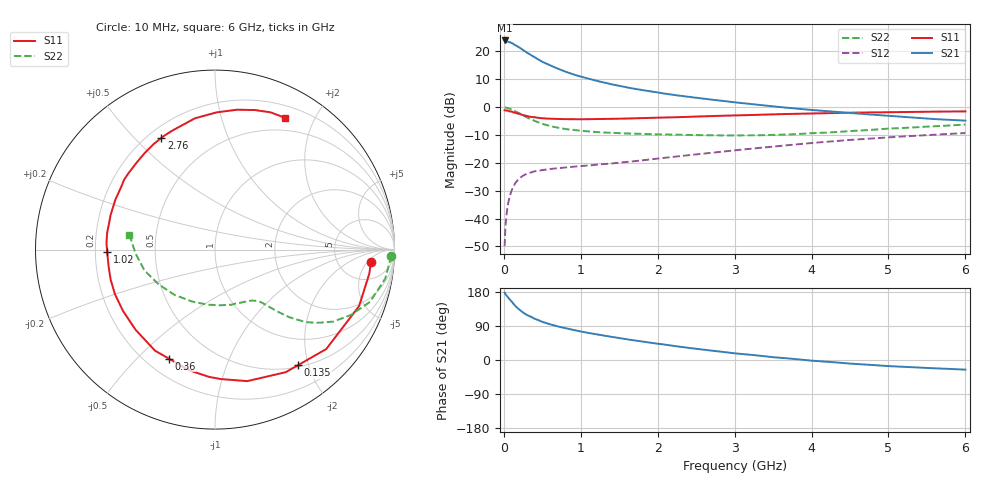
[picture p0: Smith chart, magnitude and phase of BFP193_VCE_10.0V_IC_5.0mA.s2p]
! Infineon Technologies  Discrete & RF Semiconductors
! BFP193
! VCE = 10.0V,  IC =  5.0 mA
! Common Emitter S-Parameters:  Jan 2016
# GHz  S  MA  R  50
!  f  S11  S21  S12  S22
! GHz  MAG  ANG  MAG  ANG  MAG  ANG  MAG  ANG
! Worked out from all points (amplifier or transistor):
!   210 points, 10 MHz to 6 GHz, reference 50 ohm
!   highest |S21| = 23.8 dB at 10 MHz (marker M1)
!   |S21| within 3 dB of that: start of sweep to 227.6 MHz
!   unconditionally stable (mu >= 1): 1.323 GHz to 3.677 GHz
!   at 185 MHz: K = 0.21, MSG = 23.8 dB, |S12| = -26.1 dB
!   at 1.52 GHz: K = 1.06, MAG = 12.1 dB, |S12| = -19.9 dB
!   at 6 GHz: K = 0.88, MSG = 2.2 dB, |S12| = -9.4 dB
!   S11 on the Smith chart (normalised r, x): 10 MHz: 11, -6; 135 MHz: 0.53, -1.83; 360 MHz: 0.29, -0.62; 1.02 GHz: 0.25, -0.01; 2.76 GHz: 0.25, +0.60; 6 GHz: 0.34, +1.61
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0.01  0.8711 -4.6  15.54 178.0  0.0032 86.3  0.9825 -2.0
0.02  0.8702 -8.8  15.08 174.0  0.0069 84.2  0.9766 -3.8
0.055  0.8545 -23.3  14.75 165.1  0.0184 76.1  0.9561 -10.5
0.1  0.8314 -41.8  14.13 154.0  0.0317 68.5  0.9116 -18.6
0.135  0.7928 -54.4  13.13 146.0  0.0399 61.9  0.8603 -23.4
0.15  0.7886 -60.0  12.78 142.2  0.0436 59.9  0.8403 -25.7
0.2  0.7546 -76.2  11.69 133.2  0.0522 53.0  0.7722 -31.3
0.24  0.7219 -87.5  10.71 126.7  0.0574 48.7  0.7165 -34.6
0.3  0.6881 -101.9  9.399 118.7  0.0635 44.2  0.6477 -38.6
0.36  0.6594 -113.0  8.362 113.3  0.0675 40.7  0.5947 -40.7
0.4  0.6548 -120.7  7.722 108.9  0.0703 38.6  0.5598 -42.3
0.5  0.6287 -134.7  6.442 100.7  0.074 35.5  0.4977 -44.5
0.6  0.6161 -146.3  5.553 94.2  0.0772 33.8  0.4533 -46.1
0.8  0.6051 -163.9  4.287 83.7  0.0825 32.7  0.4013 -48.2
1.02  0.6011 -178.8  3.437 74.5  0.0874 33.5  0.3721 -50.4
1.4  0.6128 161.8  2.54 61.1  0.0969 36.2  0.3448 -56.3
2.02  0.6433 138.2  1.795 42.5  0.1199 40.0  0.3215 -69.0
2.76  0.6907 115.6  1.324 23.4  0.1542 40.6  0.3088 -89.2
3.1  0.7095 107.3  1.17 15.8  0.1724 39.7  0.3089 -100.2
4.1  0.7682 87.6  0.861 -3.1  0.2318 33.3  0.3421 -135.4
5.1  0.8111 72.9  0.677 -17.0  0.2907 23.2  0.4145 -166.5
6  0.8314 62.1  0.568 -25.4  0.3406 13.0  0.4833 170.3
